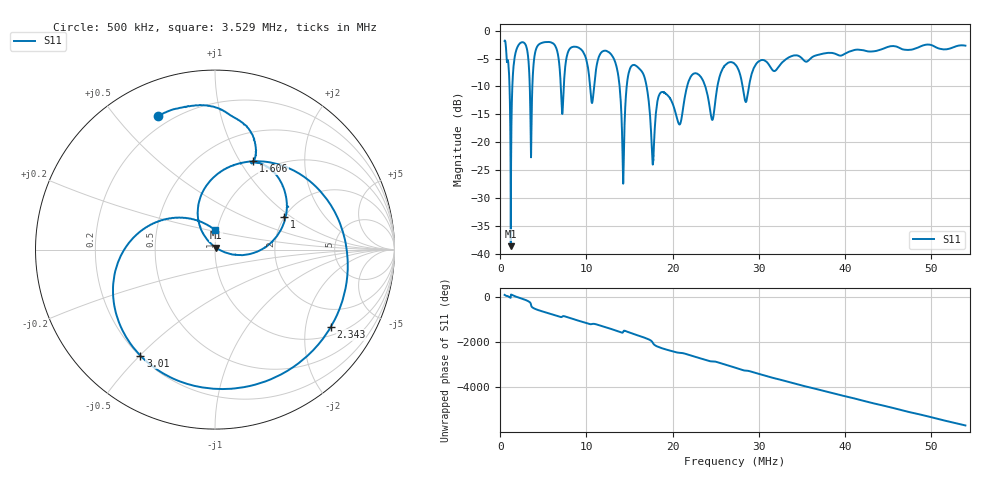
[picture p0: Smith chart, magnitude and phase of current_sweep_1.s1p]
! Calibrated high-resolution NanoVNA antenna measurement
# Hz S RI R 50
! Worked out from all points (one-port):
!   40001 points, 500 kHz to 54 MHz, reference 50 ohm
!   lowest |S11| = -38.6 dB at 1.221 MHz (marker M1), VSWR 1.02, Z = 50.6 + j1.05 ohm
!   |S11| at or under -10 dB: 13.85 MHz to 14.67 MHz (819.6 kHz wide, 5.75 % of centre); 16.99 MHz to 21.68 MHz (4.696 MHz wide, 24.3 % of centre); 23.8 MHz to 25.2 MHz (1.4 MHz wide, 5.71 % of centre)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
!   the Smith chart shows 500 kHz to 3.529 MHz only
!   S11 on the Smith chart (normalised r, x): 500 kHz: 0.15, +0.65; 1 MHz: 1.98, +0.89; 1.606 MHz: 0.83, +1.14; 2.343 MHz: 1.28, -2.77; 3.01 MHz: 0.20, -0.50; 3.529 MHz: 0.97, +0.22
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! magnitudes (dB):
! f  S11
! 500 kHz  -1.9
! 1 MHz  -7.4
! 1.221 MHz  -38.6
! 1.606 MHz  -5.4
! 2.343 MHz  -2.2
! 3.01 MHz  -2.8
! 3.529 MHz  -19.1
! 5.203 MHz  -2.1
! 6.493 MHz  -3.1
! 7.188 MHz  -14.9
! 8.615 MHz  -2.9
! 10.63 MHz  -12.9
! 12.13 MHz  -3.6
! 13.88 MHz  -10.4
! 14.26 MHz  -27.1
! 15.42 MHz  -6.1
! 16.82 MHz  -8.8
! 17.69 MHz  -23.9
! 18.63 MHz  -11.1
! 20.56 MHz  -16.0
! 22.32 MHz  -7.8
! 24.61 MHz  -16.0
! 27.25 MHz  -6.0
! 28.51 MHz  -12.8
! 33.94 MHz  -4.5
! 40.62 MHz  -3.7
! 47.31 MHz  -3.5
! 54 MHz  -2.7
